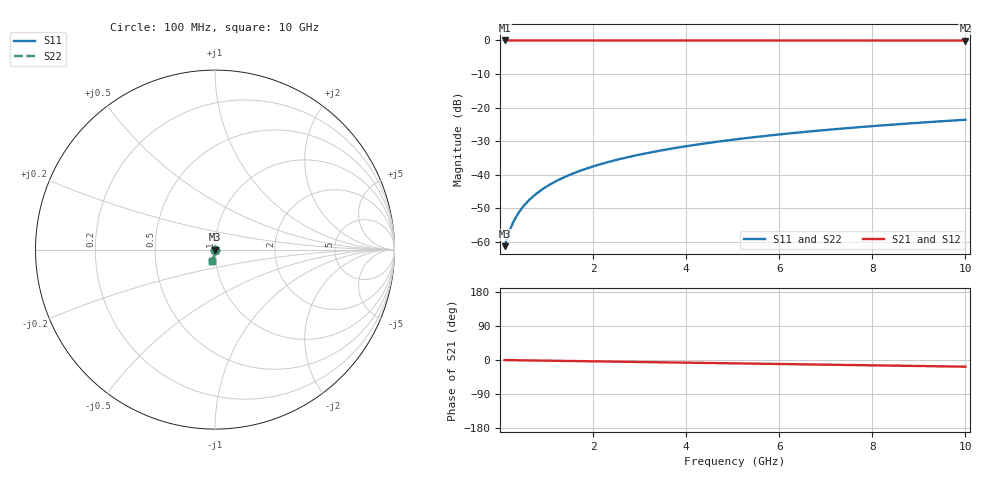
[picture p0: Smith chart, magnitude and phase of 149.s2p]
# Hz S RI R 50.00
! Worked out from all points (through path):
!   100 points, 100 MHz to 10 GHz, reference 50 ohm
!   highest |S21| = 0.00 dB at 100 MHz (marker M1); lowest = 0.0 dB at 10 GHz (marker M2)
!   group delay of S21, straight-line fit = 4.89 ps
!   lowest |S11| = -61.3 dB at 100 MHz (marker M3), VSWR 1.00, Z = 50.1 - j0.0665 ohm
!   |S11| at or under -10 dB: start of sweep to end of sweep
!   |S22| runs from -61.3 to -23.6 dB; largest |S21 - S12| = 0
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1e8  0.000549 -0.000664  0.9994 -0.00305  0.9994 -0.00305  0.000549 -0.000664
2e8  0.000545 -0.00133  0.9994 -0.00611  0.9994 -0.00611  0.000545 -0.00133
3e8  0.000536 -0.00199  0.9994 -0.00916  0.9994 -0.00916  0.000536 -0.00199
4e8  0.000522 -0.00266  0.9994 -0.0122  0.9994 -0.0122  0.000522 -0.00266
5e8  0.000504 -0.00332  0.9993 -0.0153  0.9993 -0.0153  0.000504 -0.00332
6e8  0.000482 -0.00398  0.9992 -0.0183  0.9992 -0.0183  0.000482 -0.00398
7e8  0.000455 -0.00465  0.9992 -0.0214  0.9992 -0.0214  0.000455 -0.00465
8e8  0.000424 -0.00531  0.9991 -0.0244  0.9991 -0.0244  0.000424 -0.00531
9e8  0.000389 -0.00598  0.999 -0.0275  0.999 -0.0275  0.000389 -0.00598
1.1e9  0.000307 -0.0073  0.9988 -0.0336  0.9988 -0.0336  0.000307 -0.0073
1.4e9  0.000153 -0.00929  0.9984 -0.0428  0.9984 -0.0428  0.000153 -0.00929
1.8e9  -0.00011 -0.0119  0.9978 -0.055  0.9978 -0.055  -0.00011 -0.0119
2.1e9  -0.00035 -0.0139  0.9972 -0.0641  0.9972 -0.0641  -0.00035 -0.0139
2.5e9  -0.000727 -0.0166  0.9963 -0.0764  0.9963 -0.0764  -0.000727 -0.0166
2.9e9  -0.00117 -0.0192  0.9952 -0.0886  0.9952 -0.0886  -0.00117 -0.0192
3.4e9  -0.00181 -0.0225  0.9937 -0.1038  0.9937 -0.1038  -0.00181 -0.0225
4.2e9  -0.00305 -0.0277  0.9907 -0.1281  0.9907 -0.1281  -0.00305 -0.0277
5.1e9  -0.00475 -0.0335  0.9866 -0.1555  0.9866 -0.1555  -0.00475 -0.0335
5.9e9  -0.00654 -0.0386  0.9822 -0.1796  0.9822 -0.1796  -0.00654 -0.0386
6.7e9  -0.00857 -0.0435  0.9773 -0.2037  0.9773 -0.2037  -0.00857 -0.0435
8.4e9  -0.0137 -0.0538  0.9646 -0.2546  0.9646 -0.2546  -0.0137 -0.0538
1e10  -0.0195 -0.0629  0.9502 -0.3018  0.9502 -0.3018  -0.0195 -0.0629
